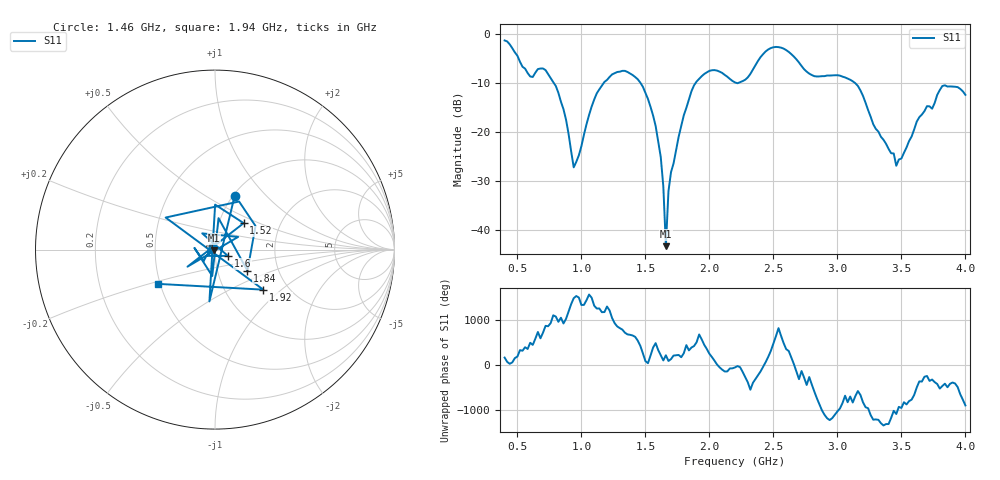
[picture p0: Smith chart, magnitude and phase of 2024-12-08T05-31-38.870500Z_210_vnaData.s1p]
!Created with skrf (http://scikit-rf.org).
# Hz S RI R 50.0
!freq ReS11 ImS11
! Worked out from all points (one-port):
!   181 points, 400 MHz to 4 GHz, reference 50 ohm
!   lowest |S11| = -43.4 dB at 1.66 GHz (marker M1), VSWR 1.01, Z = 49.5 - j0.415 ohm
!   |S11| at or under -10 dB: 784.7 MHz to 1.174 GHz (389.5 MHz wide, 39.8 % of centre); 1.462 GHz to 1.892 GHz (429.9 MHz wide, 25.6 % of centre); 3.138 GHz to end of sweep (the widest 3 of 4)
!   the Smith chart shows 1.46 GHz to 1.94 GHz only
!   S11 on the Smith chart (normalised r, x): 1.46 GHz: 1.02, +0.68; 1.52 GHz: 1.31, +0.40; 1.6 GHz: 1.15, -0.08; 1.84 GHz: 1.39, -0.34; 1.92 GHz: 1.50, -0.76; 1.94 GHz: 0.49, -0.21
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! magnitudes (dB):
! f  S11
! 400 MHz  -1.3
! 600 MHz  -8.7
! 720 MHz  -7.4
! 860 MHz  -15.4
! 940 MHz  -27.2
! 1.12 GHz  -12.1
! 1.3 GHz  -7.7
! 1.46 GHz  -9.9
! 1.52 GHz  -13.3
! 1.6 GHz  -21.9
! 1.64 GHz  -31.2
! 1.66 GHz  -43.4
! 1.68 GHz  -32.2
! 1.76 GHz  -21.0
! 1.84 GHz  -13.3
! 1.92 GHz  -9.1
! 1.94 GHz  -8.6
! 2.04 GHz  -7.4
! 2.2 GHz  -9.9
! 2.48 GHz  -2.8
! 2.66 GHz  -4.6
! 2.82 GHz  -8.6
! 3.1 GHz  -9.3
! 3.18 GHz  -11.5
! 3.46 GHz  -26.9
! 3.56 GHz  -21.9
! 3.82 GHz  -10.6
! 4 GHz  -12.4
